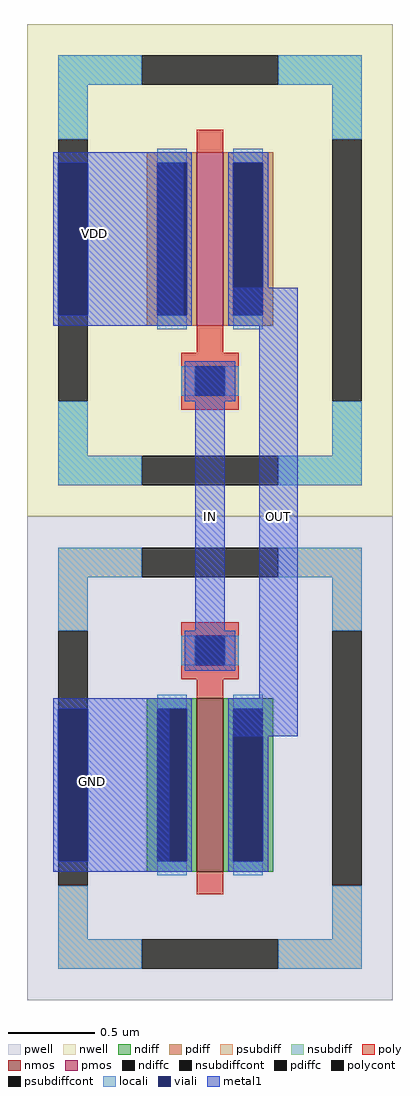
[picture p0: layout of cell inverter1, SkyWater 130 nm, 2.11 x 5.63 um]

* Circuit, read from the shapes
.subckt inverter1 VDD GND OUT IN
XM1 OUT IN GND GND sky130_fd_pr__nfet_01v8 w=1 l=0.15
XM2 OUT IN VDD VDD sky130_fd_pr__pfet_01v8 w=1 l=0.15
.ends

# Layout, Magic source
magic
tech sky130A
magscale 1 2
<< viali >>
rect 352 -1074 386 -898
rect 352 -1704 386 -1528
<< metal1 >>
rect 346 -898 496 -886
rect 346 -1074 352 -898
rect 386 -1074 496 -898
rect 346 -1086 496 -1074
rect 554 -1086 628 -1042
rect 510 -1478 544 -1132
rect 584 -1516 628 -1086
rect 346 -1528 480 -1516
rect 346 -1704 352 -1528
rect 386 -1704 480 -1528
rect 548 -1560 628 -1516
rect 346 -1716 480 -1704
use sky130_fd_pr__nfet_01v8_64Z3AY  XM1
transform 1 0 527 0 1 -1585
box -211 -279 211 279
use sky130_fd_pr__pfet_01v8_LGS3BL  XM2
transform 1 0 527 0 1 -1022
box -211 -284 211 284
<< labels >>
flabel metal1 394 -980 394 -980 0 FreeSans 160 0 0 0 VDD
port 0 nsew
flabel metal1 392 -1612 392 -1612 0 FreeSans 160 0 0 0 GND
port 1 nsew
flabel metal1 606 -1306 606 -1306 0 FreeSans 160 0 0 0 OUT
port 2 nsew
flabel metal1 528 -1306 528 -1306 0 FreeSans 160 0 0 0 IN
port 3 nsew
<< end >>

# cell sky130_fd_pr__nfet_01v8_64Z3AY: kit device sky130_fd_pr__nfet_01v8, w 1.0 l 0.15 m 1 nf 1 diffcov 100 polycov 100 guard 1 glc 1 grc 1 gtc 1 gbc 1 tbcov 100 rlcov 100 topc 1 botc 0 poverlap 0 doverlap 1 lmin 0.15 wmin 0.42 compatible {sky130_fd_pr__nfet_01v8 sky130_fd_pr__nfet_01v8_lvt sky130_fd_bs_flash__special_sonosfet_star sky130_fd_pr__nfet_g5v0d10v5 sky130_fd_pr__nfet_05v0_nvt sky130_fd_pr__nfet_03v3_nvt} full_metal 1 viasrc 100 viadrn 100 viagate 100 viagb 0 viagr 0 viagl 0 viagt 0

# cell sky130_fd_pr__pfet_01v8_LGS3BL: kit device sky130_fd_pr__pfet_01v8, w 1.0 l 0.15 m 1 nf 1 diffcov 100 polycov 100 guard 1 glc 1 grc 1 gtc 1 gbc 1 tbcov 100 rlcov 100 topc 0 botc 1 poverlap 0 doverlap 1 lmin 0.15 wmin 0.42 compatible {sky130_fd_pr__pfet_01v8 sky130_fd_pr__pfet_01v8_lvt sky130_fd_pr__pfet_01v8_hvt sky130_fd_pr__pfet_g5v0d10v5} full_metal 1 viasrc 100 viadrn 100 viagate 100 viagb 0 viagr 0 viagl 0 viagt 0
